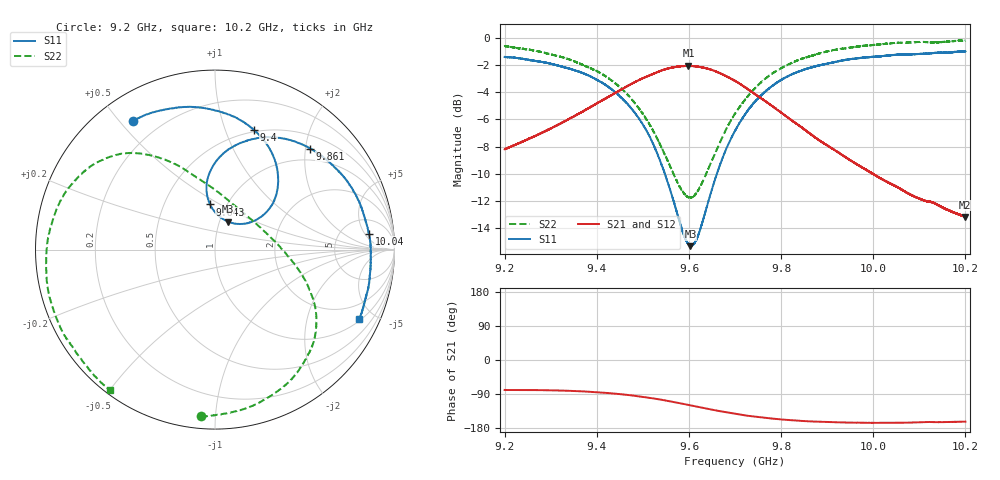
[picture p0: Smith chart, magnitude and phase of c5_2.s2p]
!Agilent Technologies,N5242A,MY51221714,A.09.90.19
!Agilent N5242A: A.09.90.19
!Date: Saturday, December 30, 2023 10:28:16
!Correction: S11(Full 2 Port(1,2))
!S21(Full 2 Port(1,2))
!S12(Full 2 Port(1,2))
!S22(Full 2 Port(1,2))
!S2P File: Measurements: S11, S21, S12, S22:
# Hz S  dB  R 50
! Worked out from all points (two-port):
!   16001 points, 9.2 GHz to 10.2 GHz, reference 50 ohm
!   highest |S21| = -2.06 dB at 9.599 GHz (marker M1); lowest = -13.2 dB at 10.2 GHz (marker M2)
!   |S21| within 3 dB of the highest: 9.388124 GHz to 9.388127 GHz (2.725 kHz wide, 2.9e-05 % of centre); 9.388 GHz to 9.782 GHz (393.8 MHz wide, 4.11 % of centre)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
!   lowest |S11| = -15.3 dB at 9.603 GHz (marker M3), VSWR 1.41, Z = 54.9 + j17.5 ohm
!   |S11| at or under -10 dB: 9.548 GHz to 9.661 GHz (113.2 MHz wide, 1.18 % of centre)
!   |S22| runs from -11.8 to -0.2 dB; largest |S21 - S12| = 0.012
!   S11 on the Smith chart (normalised r, x): 9.2 GHz: 0.11, +0.55; 9.4 GHz: 0.48, +1.26; 9.643 GHz: 0.84, +0.45; 9.861 GHz: 0.75, +2.09; 10.04 GHz: 9, +6; 10.2 GHz: 1.08, -4.09
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9.2e9  -1.41 122.4  -8.20 -79.1  -8.17 -79.8  -0.60 -94.8
9.290125e9  -1.83 100.9  -6.85 -79.7  -6.82 -80.4  -1.15 -70.9
9.366688e9  -2.56 81.1  -5.47 -82.7  -5.45 -83.4  -1.93 -51.6
9.399625e9  -3.07 72.0  -4.84 -85.0  -4.81 -85.7  -2.45 -43.5
9.470125e9  -5.00 51.9  -3.49 -92.7  -3.48 -93.3  -4.29 -26.6
9.533375e9  -8.71 36.5  -2.51 -103.5  -2.48 -104.1  -7.57 -6.5
9.568438e9  -12.22 37.8  -2.16 -111.3  -2.15 -112.0  -10.16 14.4
9.598938e9  -15.19 59.7  -2.06 -118.6  -2.06 -119.3  -11.74 45.4
9.603312e9  -15.33 64.9  -2.08 -119.6  -2.06 -120.3  -11.74 50.8
9.619312e9  -14.59 82.4  -2.13 -123.6  -2.11 -124.3  -11.26 69.3
9.643062e9  -11.92 96.2  -2.29 -129.3  -2.29 -130.0  -9.55 89.9
9.7e9  -6.84 92.1  -3.17 -142.0  -3.15 -142.7  -5.59 114.9
9.73975e9  -4.83 81.2  -4.06 -148.9  -4.05 -149.8  -3.84 124.9
9.778438e9  -3.61 69.7  -4.97 -154.2  -4.96 -155.0  -2.68 133.1
9.860812e9  -2.23 46.7  -7.01 -161.8  -7.00 -162.6  -1.38 150.1
9.866688e9  -2.16 45.2  -7.13 -162.2  -7.15 -162.9  -1.32 151.3
9.957625e9  -1.55 23.3  -9.17 -165.4  -9.15 -166.1  -0.68 172.1
1.003338e10  -1.30 6.8  -10.66 -165.6  -10.65 -166.4  -0.42 -169.6
1.003825e10  -1.27 5.8  -10.73 -165.6  -10.73 -166.3  -0.40 -168.4
1.011131e10  -1.18 -8.7  -11.99 -163.8  -11.97 -164.6  -0.30 -150.0
1.019969e10  -1.00 -25.8  -13.19 -162.6  -13.16 -163.5  -0.21 -126.9
1.02e10  -1.00 -25.8  -13.19 -162.6  -13.17 -163.5  -0.20 -126.8
